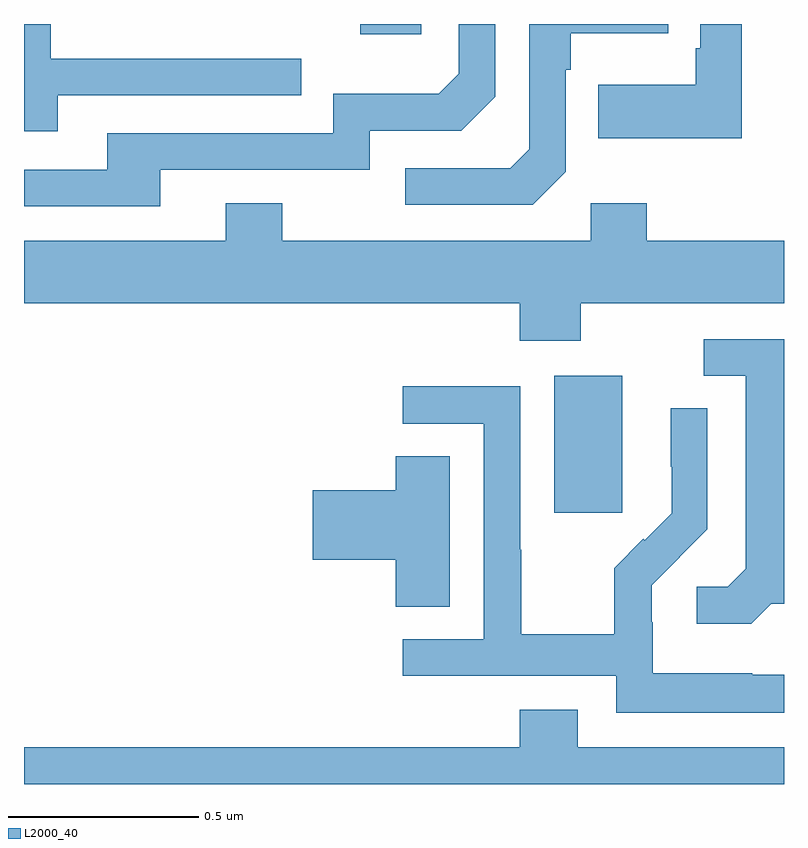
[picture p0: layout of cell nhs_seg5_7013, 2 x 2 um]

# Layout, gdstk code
import gdstk
lib = gdstk.Library(unit=1e-6, precision=1e-09)
def R(c, l, rs):  # rectangles x0, y0, x1, y1
    for r in rs: c.add(gdstk.rectangle(r[:2], r[2:], *l))
def P(c, l, *ps):  # polygons
    for p in ps: c.add(gdstk.Polygon(p, *l))
L2000_40 = (2000, 40)

nhs_seg5_7013 = lib.new_cell('nhs_seg5_7013')
R(nhs_seg5_7013, L2000_40, [(204.395,885.513,204.574,885.874), (203.885,886.772,204.046,886.799)])
P(nhs_seg5_7013, L2000_40, [(204.889,886.799),(204.78,886.799),(204.78,886.735),(204.768,886.735),(204.768,886.639),(204.511,886.639),(204.511,886.499),(204.889,886.499)],
  [(203.359,886.416),(203.91,886.416),(203.91,886.518),(204.15,886.518),(204.24,886.608),(204.24,886.799),(204.144,886.799),(204.144,886.668),(204.091,886.615),(203.814,886.615),(203.814,886.512),(203.219,886.512),(203.219,886.416),(203,886.416),(203,886.32),(203.359,886.32)],
  [(203.089,886.611),(203.729,886.611),(203.729,886.707),(203.07,886.707),(203.07,886.799),(203,886.799),(203,886.517),(203.089,886.517)],
  [(204.426,886.41),(204.426,886.679),(204.439,886.679),(204.439,886.775),(204.695,886.775),(204.695,886.799),(204.33,886.799),(204.33,886.47),(204.279,886.419),(204.003,886.419),(204.003,886.323),(204.339,886.323)],
  [(204.465,886.064),(205,886.064),(205,886.228),(204.639,886.228),(204.639,886.327),(204.492,886.327),(204.492,886.228),(203.679,886.228),(203.679,886.327),(203.531,886.327),(203.531,886.228),(203,886.228),(203,886.064),(204.305,886.064),(204.305,885.965),(204.465,885.965)],
  [(204.966,885.273),(205,885.273),(205,885.969),(204.789,885.969),(204.789,885.873),(204.899,885.873),(204.899,885.365),(204.852,885.318),(204.771,885.318),(204.771,885.221),(204.914,885.221)],
  [(205,885.087),(204.917,885.087),(204.917,885.091),(204.654,885.091),(204.654,885.225),(204.652,885.225),(204.652,885.322),(204.726,885.396),(204.725,885.397),(204.798,885.47),(204.798,885.788),(204.702,885.788),(204.702,885.634),(204.704,885.634),(204.704,885.512),(204.633,885.441),(204.63,885.444),(204.553,885.367),(204.553,885.193),(204.309,885.193),(204.309,885.416),(204.306,885.416),(204.306,885.846),(203.997,885.846),(203.997,885.747),(204.21,885.747),(204.21,885.18),(203.997,885.18),(203.997,885.084),(204.558,885.084),(204.558,884.987),(205,884.987)],
  [(204.121,885.662),(203.978,885.662),(203.978,885.572),(203.76,885.572),(203.76,885.389),(203.978,885.389),(203.978,885.265),(204.121,885.265)],
  [(205,884.896),(204.457,884.896),(204.457,884.995),(204.305,884.995),(204.305,884.896),(203,884.896),(203,884.799),(205,884.799)])

lib.write_gds('nhs_seg5_7013.gds')
